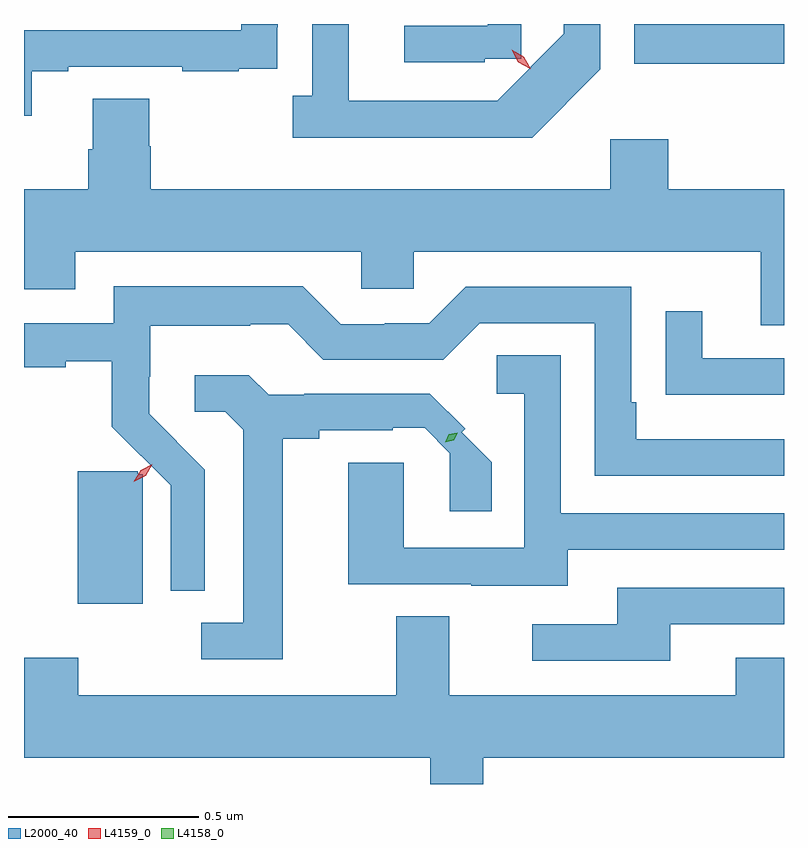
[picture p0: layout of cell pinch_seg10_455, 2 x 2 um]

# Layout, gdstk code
import gdstk
lib = gdstk.Library(unit=1e-6, precision=1e-09)
def R(c, l, rs):  # rectangles x0, y0, x1, y1
    for r in rs: c.add(gdstk.rectangle(r[:2], r[2:], *l))
def P(c, l, *ps):  # polygons
    for p in ps: c.add(gdstk.Polygon(p, *l))
L2000_40 = (2000, 40)
L4158_0 = (4158, 0)
L4159_0 = (4159, 0)

pinch_seg10_455 = lib.new_cell('pinch_seg10_455')
R(pinch_seg10_455, L2000_40, [(364.88,1292.818,365.274,1292.923)])
P(pinch_seg10_455, L2000_40, [(364.791,1292.804),(364.791,1292.923),(364.695,1292.923),(364.695,1292.897),(364.519,1292.721),(364.129,1292.721),(364.129,1292.921),(364.128,1292.921),(364.128,1292.923),(364.032,1292.923),(364.032,1292.734),(363.981,1292.734),(363.981,1292.624),(364.611,1292.624)],
  [(364.487,1292.831),(364.583,1292.831),(364.583,1292.923),(364.494,1292.923),(364.494,1292.919),(364.275,1292.919),(364.275,1292.823),(364.487,1292.823)],
  [(363.295,1292.799),(363.391,1292.799),(363.391,1292.811),(363.691,1292.811),(363.691,1292.799),(363.839,1292.799),(363.839,1292.805),(363.941,1292.805),(363.941,1292.914),(363.942,1292.914),(363.942,1292.923),(363.846,1292.923),(363.846,1292.907),(363.274,1292.907),(363.274,1292.682),(363.295,1292.682)],
  [(365.274,1292.488),(364.97,1292.488),(364.97,1292.62),(364.817,1292.62),(364.817,1292.488),(363.608,1292.488),(363.608,1292.601),(363.603,1292.601),(363.603,1292.726),(363.455,1292.726),(363.455,1292.594),(363.443,1292.594),(363.443,1292.488),(363.274,1292.488),(363.274,1292.225),(363.409,1292.225),(363.409,1292.324),(364.161,1292.324),(364.161,1292.226),(364.299,1292.226),(364.299,1292.324),(365.213,1292.324),(365.213,1292.13),(365.274,1292.13)],
  [(363.75,1291.75),(363.604,1291.898),(363.604,1291.995),(363.606,1291.995),(363.606,1292.129),(363.869,1292.129),(363.869,1292.133),(363.969,1292.133),(364.062,1292.04),(364.377,1292.04),(364.473,1292.136),(364.776,1292.136),(364.776,1291.734),(365.274,1291.734),(365.274,1291.83),(364.885,1291.83),(364.885,1291.927),(364.872,1291.927),(364.872,1292.232),(364.437,1292.232),(364.341,1292.136),(364.223,1292.136),(364.223,1292.133),(364.107,1292.133),(364.007,1292.233),(363.51,1292.233),(363.51,1292.136),(363.274,1292.136),(363.274,1292.02),(363.384,1292.02),(363.384,1292.035),(363.505,1292.035),(363.505,1291.863),(363.66,1291.709),(363.66,1291.432),(363.75,1291.432)],
  [(365.274,1292.043),(365.059,1292.043),(365.059,1292.167),(364.963,1292.167),(364.963,1291.948),(365.065,1291.948),(365.065,1291.947),(365.274,1291.947)],
  [(364.705,1291.539),(365.274,1291.539),(365.274,1291.635),(364.686,1291.635),(364.686,1292.051),(364.518,1292.051),(364.518,1291.95),(364.59,1291.95),(364.59,1291.545),(364.273,1291.545),(364.273,1291.769),(364.127,1291.769),(364.127,1291.449),(364.451,1291.449),(364.451,1291.445),(364.705,1291.445)],
  [(363.955,1291.832),(364.051,1291.832),(364.051,1291.854),(364.244,1291.854),(364.244,1291.86),(364.329,1291.86),(364.395,1291.794),(364.395,1291.641),(364.505,1291.641),(364.505,1291.77),(364.426,1291.849),(364.435,1291.858),(364.342,1291.95),(364.012,1291.95),(364.012,1291.947),(363.918,1291.947),(363.866,1291.999),(363.723,1291.999),(363.723,1291.902),(363.804,1291.902),(363.851,1291.855),(363.851,1291.347),(363.741,1291.347),(363.741,1291.251),(363.955,1291.251)],
  [(363.586,1291.738),(363.573,1291.738),(363.573,1291.746),(363.416,1291.746),(363.416,1291.398),(363.586,1291.398)],
  [(364.975,1291.344),(365.274,1291.344),(365.274,1291.44),(364.835,1291.44),(364.835,1291.344),(364.611,1291.344),(364.611,1291.248),(364.975,1291.248)],
  [(364.483,1290.992),(365.274,1290.992),(365.274,1291.255),(365.147,1291.255),(365.147,1291.156),(364.393,1291.156),(364.393,1291.364),(364.253,1291.364),(364.253,1291.156),(363.417,1291.156),(363.417,1291.255),(363.274,1291.255),(363.274,1290.992),(364.343,1290.992),(364.343,1290.923),(364.483,1290.923)])
P(pinch_seg10_455, L4158_0, [(364.383,1291.823),(364.383,1291.823),(364.392,1291.843),(364.414,1291.848),(364.415,1291.848),(364.415,1291.848),(364.405,1291.828),(364.383,1291.823)])
P(pinch_seg10_455, L4159_0, [(364.606,1292.805),(364.574,1292.823),(364.557,1292.855),(364.557,1292.855),(364.557,1292.855),(364.589,1292.837),(364.607,1292.805),(364.607,1292.805)],
  [(363.563,1291.718),(363.563,1291.719),(363.581,1291.749),(363.612,1291.765),(363.612,1291.765),(363.612,1291.765),(363.594,1291.734),(363.563,1291.718)])

lib.write_gds('pinch_seg10_455.gds')
